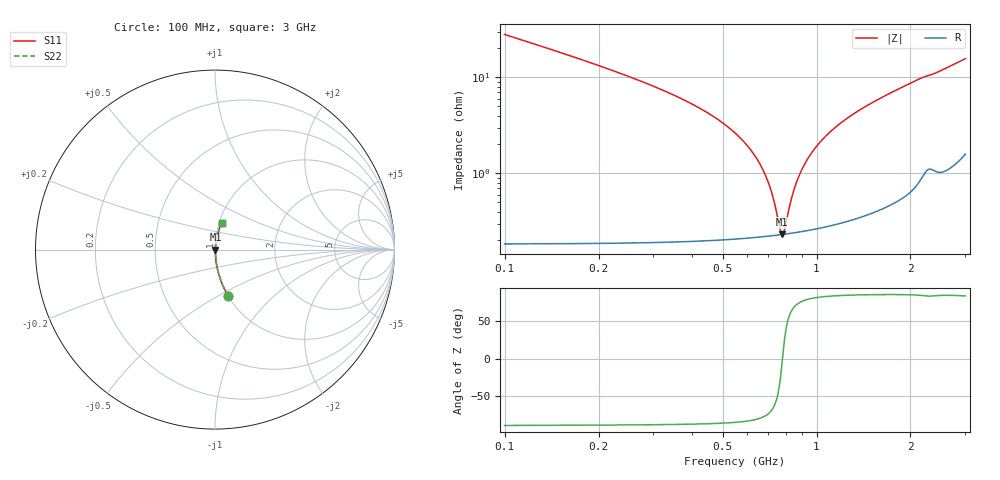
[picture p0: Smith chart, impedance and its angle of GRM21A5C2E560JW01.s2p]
!Murata Part Number: GRM21A5C2E560JW01
!These Parameters are Measured in Series Mode Connection
!Data Generated on Mar 30, 2021
!  o--ll--o
!Port1  Port2
!  o------o
!Operation Temp=25[degC], DC Bias Voltage=0[V]
!Freq. Start=100[MHz] Stop=3[GHz] 401[Steps]
# Hz S RI R 50
!Freq.(Hz) S11(Real) S11(Imag) S21(Real) S21(Imag) S12(Real) S12(Imag) S22(Real) S22(Imag)
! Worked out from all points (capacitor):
!   401 points, 100 MHz to 3 GHz, reference 50 ohm
!   read as one part in series: C = 56 pF near 114.5 MHz
!   lowest |Z| = 232 mohm at 774.2 MHz (marker M1)
!   series resonance near 777.5 MHz, so ESL is about 750 pH
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1e8  0.0739 -0.2584  0.9261 0.2584  0.9261 0.2584  0.0739 -0.2584
1.725e8  0.0257 -0.1524  0.9743 0.1524  0.9743 0.1524  0.0257 -0.1524
2.5225e8  0.0119 -0.0995  0.9881 0.0995  0.9881 0.0995  0.0119 -0.0995
4.8425e8  0.0033 -0.0359  0.9967 0.0359  0.9967 0.0359  0.0033 -0.0359
5.8575e8  0.00253 -0.021  0.9975 0.021  0.9975 0.021  0.00253 -0.021
6.4375e8  0.00234 -0.0139  0.9977 0.0139  0.9977 0.0139  0.00234 -0.0139
6.8725e8  0.00228 -0.00908  0.9977 0.00908  0.9977 0.00908  0.00228 -0.00908
7.235e8  0.00226 -0.00529  0.9977 0.00529  0.9977 0.00529  0.00226 -0.00529
7.5975e8  0.00228 -0.0017  0.9977 0.0017  0.9977 0.0017  0.00228 -0.0017
7.7425e8  0.0023 -0.00031  0.9977 0.00031  0.9977 0.00031  0.0023 -0.00031
7.8875e8  0.00232 0.00105  0.9977 -0.00105  0.9977 -0.00105  0.00232 0.00105
8.25e8  0.00238 0.00437  0.9976 -0.00437  0.9976 -0.00437  0.00238 0.00437
8.4675e8  0.00243 0.00629  0.9976 -0.00629  0.9976 -0.00629  0.00243 0.00629
8.685e8  0.00249 0.00818  0.9975 -0.00818  0.9975 -0.00818  0.00249 0.00818
8.975e8  0.00258 0.0106  0.9974 -0.0106  0.9974 -0.0106  0.00258 0.0106
9.7e8  0.00285 0.0165  0.9971 -0.0165  0.9971 -0.0165  0.00285 0.0165
1.0715e9  0.00335 0.0242  0.9967 -0.0242  0.9967 -0.0242  0.00335 0.0242
1.26725e9  0.00462 0.038  0.9954 -0.038  0.9954 -0.038  0.00462 0.038
1.55e9  0.00718 0.0564  0.9928 -0.0564  0.9928 -0.0564  0.00718 0.0564
2.03575e9  0.0144 0.0873  0.9856 -0.0873  0.9856 -0.0873  0.0144 0.0873
2.5215e9  0.0236 0.1145  0.9764 -0.1145  0.9764 -0.1145  0.0236 0.1145
3e9  0.0382 0.1474  0.9618 -0.1474  0.9618 -0.1474  0.0382 0.1474
